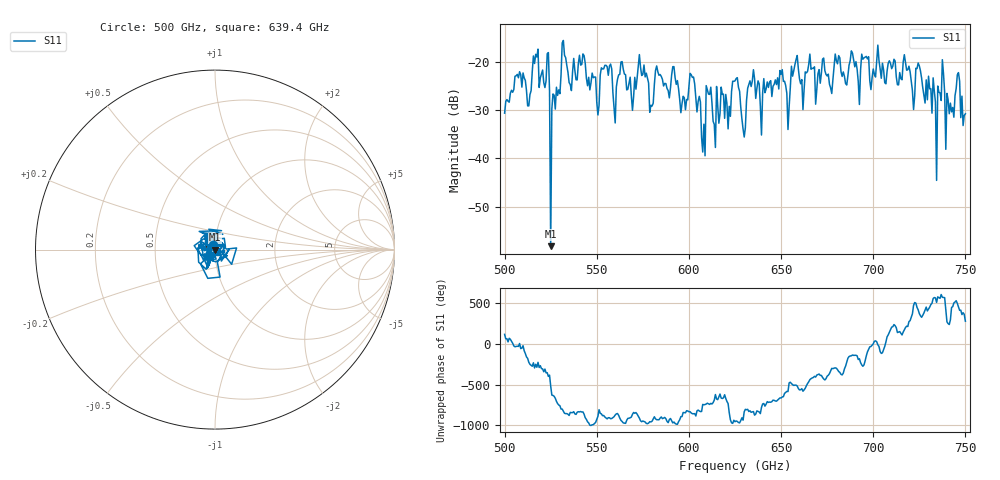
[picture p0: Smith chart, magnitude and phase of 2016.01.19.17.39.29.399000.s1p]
!Created with skrf (http://scikit-rf.org).
# GHz S RI R 50.0
!freq ReS11 ImS11
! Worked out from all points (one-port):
!   401 points, 500 GHz to 750 GHz, reference 50 ohm
!   lowest |S11| = -58.1 dB at 525 GHz (marker M1), VSWR 1.00, Z = 49.9 - j0.0468 ohm
!   |S11| at or under -10 dB: start of sweep to end of sweep
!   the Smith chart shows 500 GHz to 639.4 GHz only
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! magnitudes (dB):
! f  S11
! 500 GHz  -30.7
! 506.9 GHz  -22.7
! 513.1 GHz  -29.2
! 516.9 GHz  -18.5
! 523.1 GHz  -18.4
! 525 GHz  -58.1
! 526.2 GHz  -26.7
! 526.9 GHz  -27.0
! 531.2 GHz  -16.2
! 550 GHz  -28.4
! 562.5 GHz  -22.7
! 579.4 GHz  -29.0
! 583.1 GHz  -22.1
! 593.8 GHz  -23.9
! 601.9 GHz  -23.3
! 607.5 GHz  -38.7
! 610.6 GHz  -26.7
! 615 GHz  -25.2
! 625 GHz  -24.0
! 629.4 GHz  -33.9
! 633.8 GHz  -25.2
! 653.8 GHz  -34.0
! 656.2 GHz  -23.0
! 687.5 GHz  -19.8
! 718.8 GHz  -21.7
! 733.1 GHz  -26.1
! 745.6 GHz  -22.7
! 750 GHz  -30.8
